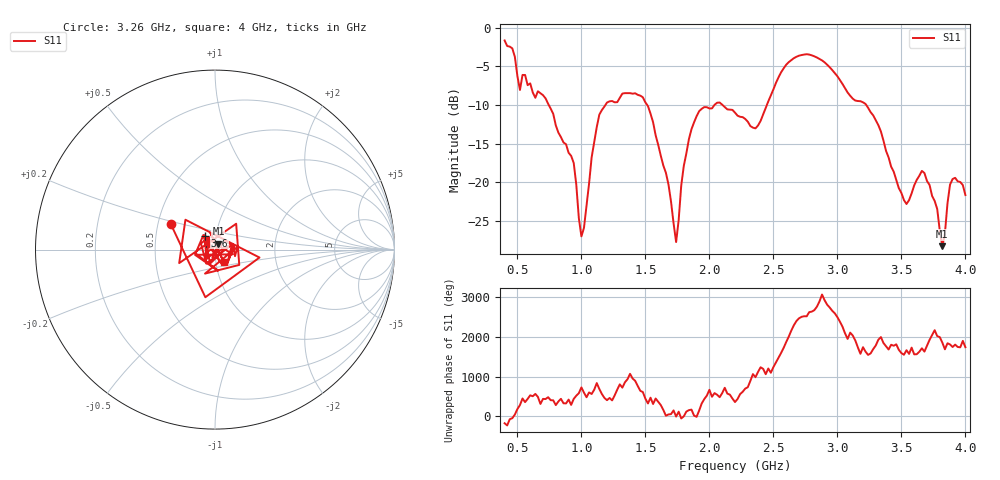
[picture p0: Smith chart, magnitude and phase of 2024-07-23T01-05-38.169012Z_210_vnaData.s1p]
!Created with skrf (http://scikit-rf.org).
# Hz S RI R 50.0
!freq ReS11 ImS11
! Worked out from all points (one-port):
!   181 points, 400 MHz to 4 GHz, reference 50 ohm
!   lowest |S11| = -28.2 dB at 3.82 GHz (marker M1), VSWR 1.08, Z = 51.8 + j3.49 ohm
!   |S11| at or under -10 dB: 745.1 MHz to 1.187 GHz (442.4 MHz wide, 45.8 % of centre); 1.514 GHz to 2.039 GHz (524.9 MHz wide, 29.5 % of centre); 3.225 GHz to end of sweep (the widest 3 of 4)
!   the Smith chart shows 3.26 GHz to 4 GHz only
!   S11 on the Smith chart (normalised r, x): 3.26 GHz: 0.58, +0.18; 3.6 GHz: 0.89, +0.14; 4 GHz: 1.09, -0.15
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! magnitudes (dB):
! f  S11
! 400 MHz  -1.7
! 460 MHz  -2.7
! 520 MHz  -8.1
! 700 MHz  -8.7
! 860 MHz  -14.8
! 940 MHz  -17.5
! 1 GHz  -27.0
! 1.14 GHz  -11.2
! 1.3 GHz  -9.1
! 1.52 GHz  -10.1
! 1.68 GHz  -20.2
! 1.74 GHz  -27.7
! 1.76 GHz  -24.9
! 1.8 GHz  -17.9
! 1.92 GHz  -10.8
! 2.2 GHz  -11.0
! 2.36 GHz  -13.0
! 2.66 GHz  -3.9
! 2.88 GHz  -4.2
! 3.1 GHz  -8.8
! 3.26 GHz  -10.9
! 3.56 GHz  -22.3
! 3.6 GHz  -20.4
! 3.68 GHz  -18.8
! 3.78 GHz  -23.4
! 3.82 GHz  -28.2
! 3.88 GHz  -20.3
! 4 GHz  -21.6
